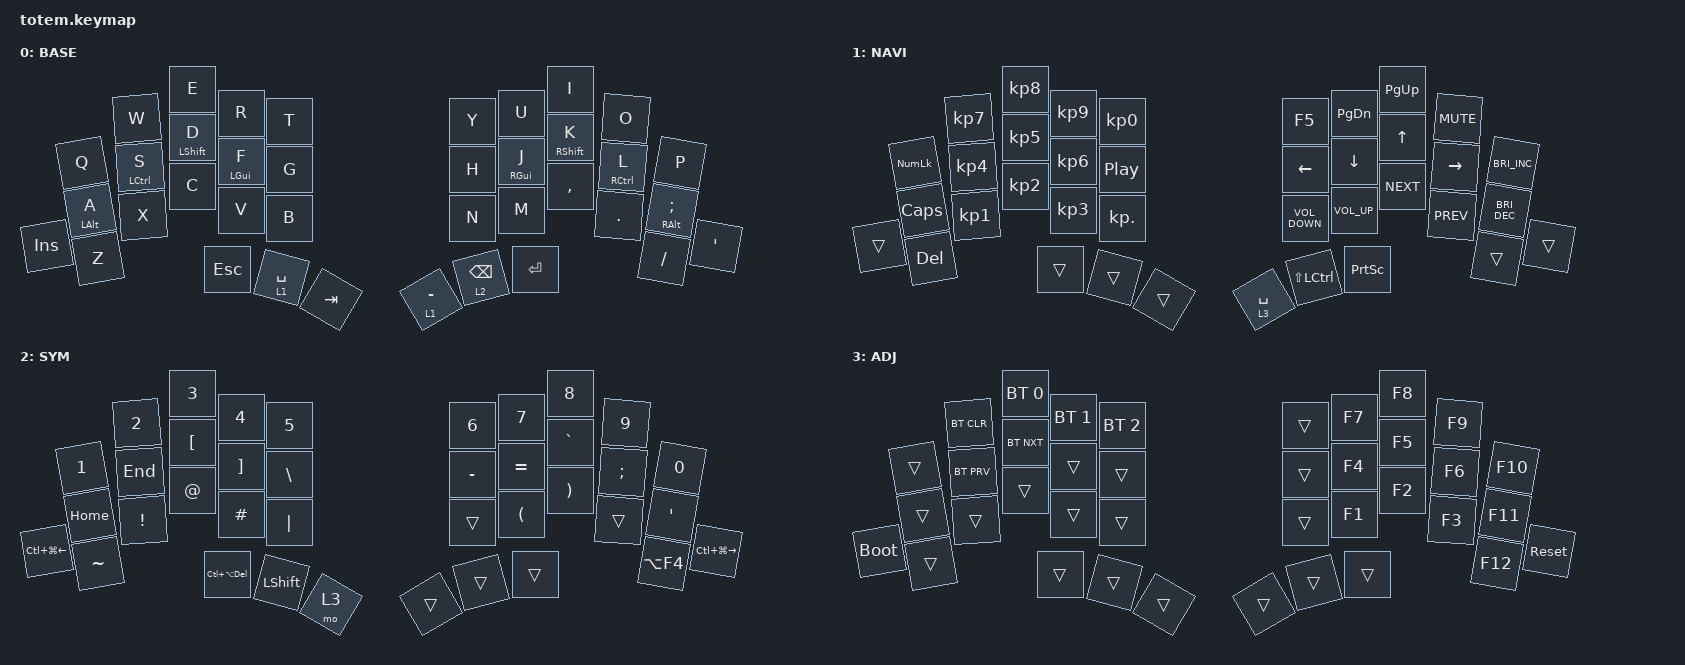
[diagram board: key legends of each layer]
//
//                                                        ▀▀▀▀▀     ▀▀▀▀▀          ▀▀█▀▀
//                                                        ▄▀▀▀▄  ▄  ▄▀▀▀▄  ▄  ▄▀▀▀▄  █  ▄▀▀▀▄
//                                                        █   █  █  █   █  █  █   █  █  █   █
//                                                         ▀▀▀   █   ▀▀▀   █   ▀▀▀   ▀   ▀▀▀
//                                                               █      ▄▄▄█▄▄▄    █   █  
//                                                               ▀      █  █  █     █▄█
//                                                             ▀▀▀▀▀    █  █  █      ▀
//                                                                      ▀  ▀  ▀
//
// ▄▄▄▄▄▄▄▄▄▄▄▄▄▄▄▄▄▄▄▄▄▄▄▄▄▄▄▄▄▄▄▄▄▄▄▄▄▄▄▄▄▄▄▄▄▄▄▄▄▄▄▄▄▄▄▄▄▄▄▄▄▄▄▄▄▄▄▄▄▄▄▄▄▄▄▄▄▄▄▄▄▄▄▄▄▄▄▄▄▄▄▄▄▄▄▄▄▄▄▄▄▄▄▄▄▄▄▄▄▄▄▄▄▄▄▄▄▄▄▄▄▄▄▄▄▄▄▄▄▄▄▄▄▄▄▄▄▄▄▄▄▄▄▄▄▄▄▄▄

#include <behaviors.dtsi>
#include <dt-bindings/zmk/bt.h>
#include <dt-bindings/zmk/ext_power.h>
#include <dt-bindings/zmk/keys.h>
#include <dt-bindings/zmk/outputs.h>

#define BASE 0
#define NAV  1
#define SYM  2
#define ADJ  3

&mt {
    quick-tap-ms = <100>;
    global-quick-tap;
    flavor = "tap-preferred";
    tapping-term-ms = <170>;
};

/ {
    combos {
        compatible = "zmk,combos";

        combo_esc {
            timeout-ms = <50>;
            key-positions = <0 1>;
            bindings = <&kp ESC>;
        };
    };

    keymap {
        compatible = "zmk,keymap";

        // ▄▄▄▄▄▄▄▄▄▄▄▄▄▄▄▄▄▄▄▄▄▄▄▄▄▄▄▄▄▄▄▄▄▄▄▄▄▄▄▄▄▄▄▄▄▄▄▄▄▄▄▄▄▄▄▄▄▄▄▄▄▄▄▄▄▄▄▄▄▄▄▄▄▄▄▄▄▄▄▄▄▄▄▄▄▄▄▄▄▄▄▄▄▄▄▄▄▄▄▄▄▄▄▄▄▄▄▄▄▄▄▄▄▄▄▄▄▄▄▄▄▄▄▄▄▄▄▄▄▄▄▄▄▄▄▄▄▄▄▄▄▄▄▄▄▄▄▄▄

        base_layer {
            // ┏━━━━━━━━━━━━━━━━━━━━━━━━━━━━━━━━━━━━━━━┓

            label = "BASE";

            // ┗━━━━━━━━━━━━━━━━━━━━━━━━━━━━━━━━━━━━━━━┛
            //             ┏━━━━━━━━━━━┳━━━━━━━━━━━┳━━━━━━━━━━━┳━━━━━━━━━━━┳━━━━━━━━━━━┓   ┏━━━━━━━━━━━┳━━━━━━━━━━━┳━━━━━━━━━━━┳━━━━━━━━━━━┳━━━━━━━━━━━┓
            //             ┃     Q     ┃     W     ┃     E     ┃     R     ┃     T     ┃   ┃     Y     ┃     U     ┃     I     ┃     O     ┃     P     ┃
            //             ┣━━━━━━━━━━━╋━━━━━━━━━━━╋━━━━━━━━━━━╋━━━━━━━━━━━╋━━━━━━━━━━━┫   ┣━━━━━━━━━━━╋━━━━━━━━━━━╋━━━━━━━━━━━╋━━━━━━━━━━━╋━━━━━━━━━━━┫
            //             ┃     A     ┃     S     ┃     D     ┃     F     ┃     G     ┃   ┃     H     ┃     J     ┃     K     ┃     L     ┃     ;     ┃
            // ┏━━━━━━━━━━━╋━━━━━━━━━━━╋━━━━━━━━━━━╋━━━━━━━━━━━╋━━━━━━━━━━━╋━━━━━━━━━━━┫   ┣━━━━━━━━━━━╋━━━━━━━━━━━╋━━━━━━━━━━━╋━━━━━━━━━━━╋━━━━━━━━━━━╋━━━━━━━━━━━┓
            // ┃   INSERT  ┃     Z     ┃     X     ┃     C     ┃     V     ┃     B     ┃   ┃     N     ┃     M     ┃     ,     ┃     .     ┃     /     ┃     '     ┃
            // ┗━━━━━━━━━━━┻━━━━━━━━━━━┻━━━━━━━━━━━╋━━━━━━━━━━━╋━━━━━━━━━━━╋━━━━━━━━━━━┫   ┣━━━━━━━━━━━╋━━━━━━━━━━━╋━━━━━━━━━━━╋━━━━━━━━━━━┻━━━━━━━━━━━┻━━━━━━━━━━━┛
            //                                     ┃    ESC    ┃    SPC    ┃    TAB    ┃   ┃   MINUS   ┃    BSPC   ┃    RET    ┃
            //                                     ┗━━━━━━━━━━━┻━━━━━━━━━━━┻━━━━━━━━━━━┛   ┗━━━━━━━━━━━┻━━━━━━━━━━━┻━━━━━━━━━━━┛

            bindings = <
               &kp Q       &kp W        &kp E         &kp R        &kp T        &kp Y        &kp U            &kp I         &kp O       &kp P
               &mt LALT A  &mt LCTRL S  &mt LSHFT D   &mt LGUI F   &kp G        &kp H        &mt RGUI J       &mt RSHFT K   &mt RCTRL L &mt RALT SEMI
   &kp INSERT  &kp Z       &kp X        &kp C         &kp V        &kp B        &kp N        &kp M            &kp COMMA     &kp DOT     &kp FSLH       &kp APOS
                                        &kp ESCAPE    &lt 1 SPACE  &kp TAB      &lt 1 MINUS  &lt 2 BACKSPACE  &kp RET
            >;
        };

        nav_layer {
            // ┏━━━━━━━━━━━━━━━━━━━━━━━━━━━━━━━━━━━━━━━┓

            label = "NAVI";

            // ┗━━━━━━━━━━━━━━━━━━━━━━━━━━━━━━━━━━━━━━━┛
            //             ┏━━━━━━━━━━━┳━━━━━━━━━━━┳━━━━━━━━━━━┳━━━━━━━━━━━┳━━━━━━━━━━━┓   ┏━━━━━━━━━━━┳━━━━━━━━━━━┳━━━━━━━━━━━┳━━━━━━━━━━━┳━━━━━━━━━━━┓
            //             ┃           ┃           ┃     UP    ┃           ┃     {     ┃   ┃     }     ┃     7     ┃     8     ┃     9     ┃     +     ┃
            //             ┣━━━━━━━━━━━╋━━━━━━━━━━━╋━━━━━━━━━━━╋━━━━━━━━━━━╋━━━━━━━━━━━┫   ┣━━━━━━━━━━━╋━━━━━━━━━━━╋━━━━━━━━━━━╋━━━━━━━━━━━╋━━━━━━━━━━━┫
            //             ┃   SHIFT   ┃   LEFT    ┃    DOWN   ┃   RIGHT   ┃     [     ┃   ┃     ]     ┃     4     ┃     5     ┃     6     ┃     -     ┃
            // ┏━━━━━━━━━━━╋━━━━━━━━━━━╋━━━━━━━━━━━╋━━━━━━━━━━━╋━━━━━━━━━━━╋━━━━━━━━━━━┫   ┣━━━━━━━━━━━╋━━━━━━━━━━━╋━━━━━━━━━━━╋━━━━━━━━━━━╋━━━━━━━━━━━╋━━━━━━━━━━━┓
            // ┃           ┃           ┃   P UP    ┃  C LOCK   ┃  P DOWN   ┃     (     ┃   ┃     )     ┃     1     ┃     2     ┃     3     ┃     *     ┃           ┃
            // ┗━━━━━━━━━━━┻━━━━━━━━━━━┻━━━━━━━━━━━╋━━━━━━━━━━━╋━━━━━━━━━━━╋━━━━━━━━━━━┫   ┣━━━━━━━━━━━╋━━━━━━━━━━━╋━━━━━━━━━━━╋━━━━━━━━━━━┻━━━━━━━━━━━┻━━━━━━━━━━━┛
            //                                     ┃           ┃    TAB    ┃    SPC    ┃   ┃    DEL    ┃     0     ┃           ┃
            //                                     ┗━━━━━━━━━━━┻━━━━━━━━━━━┻━━━━━━━━━━━┛   ┗━━━━━━━━━━━┻━━━━━━━━━━━┻━━━━━━━━━━━┛

            bindings = <
        &kp KP_NLCK  &kp KP_N7  &kp KP_N8  &kp KP_N9  &kp KP_N0         &kp F5                &kp PAGE_DOWN    &kp PAGE_UP  &kp C_MUTE  &kp C_BRI_INC    
        &kp CAPS     &kp KP_N4  &kp KP_N5  &kp KP_N6  &kp C_PLAY_PAUSE  &kp LEFT              &kp DOWN         &kp UP       &kp RIGHT   &kp C_BRI_DEC  
&trans  &kp DEL      &kp KP_N1  &kp KP_N2  &kp KP_N3  &kp KP_DOT        &kp C_VOLUME_DOWN     &kp C_VOLUME_UP  &kp C_NEXT   &kp C_PREV  &trans         &trans
                                &trans     &trans     &trans            &lt 3 SPACE           &kp LS(LCTRL)    &kp PSCRN
            >;
        };

        sym_layer {
            // ┏━━━━━━━━━━━━━━━━━━━━━━━━━━━━━━━━━━━━━━━┓

            label = "SYM";

            // ┗━━━━━━━━━━━━━━━━━━━━━━━━━━━━━━━━━━━━━━━┛
            //             ┏━━━━━━━━━━━┳━━━━━━━━━━━┳━━━━━━━━━━━┳━━━━━━━━━━━┳━━━━━━━━━━━┓   ┏━━━━━━━━━━━┳━━━━━━━━━━━┳━━━━━━━━━━━┳━━━━━━━━━━━┳━━━━━━━━━━━┓
            //             ┃     !     ┃     @     ┃     #     ┃     $     ┃     %     ┃   ┃     ˆ     ┃     &     ┃     Ü     ┃     '     ┃     "     ┃
            //             ┣━━━━━━━━━━━╋━━━━━━━━━━━╋━━━━━━━━━━━╋━━━━━━━━━━━╋━━━━━━━━━━━┫   ┣━━━━━━━━━━━╋━━━━━━━━━━━╋━━━━━━━━━━━╋━━━━━━━━━━━╋━━━━━━━━━━━┫
            //             ┃     Ä     ┃           ┃    SZ     ┃           ┃           ┃   ┃   MUTE    ┃   YEN     ┃   EURO    ┃  POUND    ┃     Ö     ┃
            // ┏━━━━━━━━━━━╋━━━━━━━━━━━╋━━━━━━━━━━━╋━━━━━━━━━━━╋━━━━━━━━━━━╋━━━━━━━━━━━┫   ┣━━━━━━━━━━━╋━━━━━━━━━━━╋━━━━━━━━━━━╋━━━━━━━━━━━╋━━━━━━━━━━━╋━━━━━━━━━━━┓
            // ┃           ┃  EMAIL1   ┃  EMAIL2   ┃           ┃           ┃           ┃   ┃   VOL-    ┃   VOL+    ┃   LAST    ┃   NEXT    ┃     \     ┃           ┃
            // ┗━━━━━━━━━━━┻━━━━━━━━━━━┻━━━━━━━━━━━╋━━━━━━━━━━━╋━━━━━━━━━━━╋━━━━━━━━━━━┫   ┣━━━━━━━━━━━╋━━━━━━━━━━━╋━━━━━━━━━━━╋━━━━━━━━━━━┻━━━━━━━━━━━┻━━━━━━━━━━━┛
            //                                     ┃           ┃    GIF    ┃    ADJ    ┃   ┃           ┃           ┃           ┃
            //                                     ┗━━━━━━━━━━━┻━━━━━━━━━━━┻━━━━━━━━━━━┛   ┗━━━━━━━━━━━┻━━━━━━━━━━━┻━━━━━━━━━━━┛

            bindings = <
                        &kp N1     &kp N2   &kp N3           &kp N4     &kp N5    &kp N6     &kp N7     &kp N8     &kp N9         &kp N0
                        &kp HOME   &kp END  &kp LBKT         &kp RBKT   &kp BSLH  &kp MINUS  &kp EQUAL  &kp GRAVE  &kp SEMICOLON  &kp APOS
&kp LC(LG(LEFT_ARROW))  &kp TILDE  &kp EXCL &kp AT           &kp HASH   &kp PIPE  &trans     &kp LPAR   &kp RPAR   &trans         &kp LA(F4)  &kp LC(LG(RIGHT))
                                            &kp LC(LA(DEL))  &kp LSHFT  &mo 3     &trans     &trans     &trans
            >;
        };

        adjust_layer {
            // ┏━━━━━━━━━━━━━━━━━━━━━━━━━━━━━━━━━━━━━━━┓

            label = "ADJ";

            // ┗━━━━━━━━━━━━━━━━━━━━━━━━━━━━━━━━━━━━━━━┛
            //             ┏━━━━━━━━━━━┳━━━━━━━━━━━┳━━━━━━━━━━━┳━━━━━━━━━━━┳━━━━━━━━━━━┓   ┏━━━━━━━━━━━┳━━━━━━━━━━━┳━━━━━━━━━━━┳━━━━━━━━━━━┳━━━━━━━━━━━┓
            //             ┃   RESET   ┃ BT CLEAR  ┃  OUT TOG  ┃           ┃           ┃   ┃           ┃    F7     ┃    F8     ┃    F9     ┃    F10    ┃
            //             ┣━━━━━━━━━━━╋━━━━━━━━━━━╋━━━━━━━━━━━╋━━━━━━━━━━━╋━━━━━━━━━━━┫   ┣━━━━━━━━━━━╋━━━━━━━━━━━╋━━━━━━━━━━━╋━━━━━━━━━━━╋━━━━━━━━━━━┫
            //             ┃ BOOTLOAD  ┃ BT NEXT   ┃           ┃           ┃           ┃   ┃           ┃    F4     ┃    F5     ┃    F6     ┃    F11    ┃
            // ┏━━━━━━━━━━━╋━━━━━━━━━━━╋━━━━━━━━━━━╋━━━━━━━━━━━╋━━━━━━━━━━━╋━━━━━━━━━━━┫   ┣━━━━━━━━━━━╋━━━━━━━━━━━╋━━━━━━━━━━━╋━━━━━━━━━━━╋━━━━━━━━━━━╋━━━━━━━━━━━┓
            // ┃           ┃           ┃ BT PREV   ┃           ┃           ┃           ┃   ┃           ┃    F1     ┃    F2     ┃    F3     ┃    F12    ┃           ┃
            // ┗━━━━━━━━━━━┻━━━━━━━━━━━┻━━━━━━━━━━━╋━━━━━━━━━━━╋━━━━━━━━━━━╋━━━━━━━━━━━┫   ┣━━━━━━━━━━━╋━━━━━━━━━━━╋━━━━━━━━━━━╋━━━━━━━━━━━┻━━━━━━━━━━━┻━━━━━━━━━━━┛
            //                                     ┃           ┃           ┃           ┃   ┃           ┃           ┃           ┃
            //                                     ┗━━━━━━━━━━━┻━━━━━━━━━━━┻━━━━━━━━━━━┛   ┗━━━━━━━━━━━┻━━━━━━━━━━━┻━━━━━━━━━━━┛

            bindings = <
             &trans   &bt BT_CLR  &bt BT_SEL 0  &bt BT_SEL 1  &bt BT_SEL 2  &trans  &kp F7  &kp F8  &kp F9  &kp F10
             &trans   &bt BT_PRV  &bt BT_NXT    &trans        &trans        &trans  &kp F4  &kp F5  &kp F6  &kp F11
&bootloader  &trans   &trans      &trans        &trans        &trans        &trans  &kp F1  &kp F2  &kp F3  &kp F12  &sys_reset
                                  &trans        &trans        &trans        &trans  &trans  &trans
            >;
        };
    };
};
